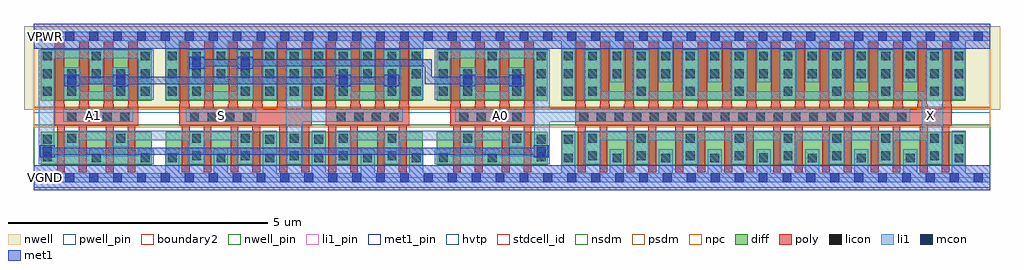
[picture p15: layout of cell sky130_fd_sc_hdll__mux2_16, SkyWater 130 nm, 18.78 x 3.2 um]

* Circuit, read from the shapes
.subckt sky130_fd_sc_hdll__mux2_16 A0 A1 S VGND VNB VPB VPWR X
XM1 n1 A1 n2 VNB sky130_fd_pr__nfet_01v8 w=0.65 l=0.15 m=4
XM2 n1 S VGND VNB sky130_fd_pr__nfet_01v8 w=0.65 l=0.15 m=4
XM3 n3 S VGND VNB sky130_fd_pr__nfet_01v8 w=0.65 l=0.15 m=2
XM4 n4 n3 VGND VNB sky130_fd_pr__nfet_01v8 w=0.65 l=0.15 m=4
XM5 n4 A0 n2 VNB sky130_fd_pr__nfet_01v8 w=0.65 l=0.15 m=4
XM6 X n2 VGND VNB sky130_fd_pr__nfet_01v8 w=0.65 l=0.15 m=16
XM7 n5 A1 n2 VPB sky130_fd_pr__pfet_01v8_hvt w=1 l=0.18 m=4
XM8 n6 S VPWR VPB sky130_fd_pr__pfet_01v8_hvt w=1 l=0.18 m=4
XM9 n3 S VPWR VPB sky130_fd_pr__pfet_01v8_hvt w=1 l=0.18 m=2
XM10 n5 n3 VPWR VPB sky130_fd_pr__pfet_01v8_hvt w=1 l=0.18 m=4
XM11 n6 A0 n2 VPB sky130_fd_pr__pfet_01v8_hvt w=1 l=0.18 m=4
XM12 X n2 VPWR VPB sky130_fd_pr__pfet_01v8_hvt w=1 l=0.18 m=16
.ends

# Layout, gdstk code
import gdstk
lib = gdstk.Library(unit=1e-6, precision=1e-09)
def R(c, l, rs):  # rectangles x0, y0, x1, y1
    for r in rs: c.add(gdstk.rectangle(r[:2], r[2:], *l))
def A(c, l, x, y, w, h, nx, ny, dx, dy):  # array of equal rectangles
    R(c, l, [(x+i*dx, y+j*dy, x+i*dx+w, y+j*dy+h) for i in range(nx) for j in range(ny)])
def P(c, l, *ps):  # polygons
    for p in ps: c.add(gdstk.Polygon(p, *l))
nwell_pin = (64, 16)
nwell = (64, 20)
diff = (65, 20)
poly = (66, 20)
licon = (66, 44)
li1_pin = (67, 16)
li1 = (67, 20)
mcon = (67, 44)
met1_pin = (68, 16)
met1 = (68, 20)
hvtp = (78, 44)
stdcell_id = (81, 4)
nsdm = (93, 44)
psdm = (94, 20)
npc = (95, 20)
pwell_pin = (122, 16)
boundary2 = (236, 0)

sky130_fd_sc_hdll__mux2_ = lib.new_cell('sky130_fd_sc_hdll__mux2_16')
R(sky130_fd_sc_hdll__mux2_, nwell_pin, [(0.15,2.635,0.32,2.805)])
R(sky130_fd_sc_hdll__mux2_, nwell, [(-0.19,1.305,18.59,2.91)])
R(sky130_fd_sc_hdll__mux2_, diff, [(0.135,0.235,2.265,0.885), (2.535,0.235,7.485,0.885), (7.755,0.235,9.885,0.885), (10.155,0.235,17.925,0.885), (0.135,1.485,2.265,2.485), (2.535,1.485,7.485,2.485), (7.755,1.485,9.885,2.485), (10.155,1.485,17.925,2.485)])
P(sky130_fd_sc_hdll__mux2_, poly, [(2.005,1.41),(1.995,1.41),(1.995,2.615),(1.815,2.615),(1.815,1.41),(1.805,1.41),(1.805,1.325),(1.535,1.325),(1.535,1.41),(1.525,1.41),(1.525,2.615),(1.345,2.615),(1.345,1.41),(1.335,1.41),(1.335,1.325),(1.065,1.325),(1.065,1.41),(1.055,1.41),(1.055,2.615),(0.875,2.615),(0.875,1.41),(0.865,1.41),(0.865,1.325),(0.595,1.325),(0.595,1.41),(0.585,1.41),(0.585,2.615),(0.405,2.615),(0.405,1.41),(0.395,1.41),(0.395,0.995),(0.445,0.995),(0.445,0.105),(0.595,0.105),(0.595,0.995),(0.865,0.995),(0.865,0.105),(1.015,0.105),(1.015,0.995),(1.385,0.995),(1.385,0.105),(1.535,0.105),(1.535,0.995),(1.805,0.995),(1.805,0.105),(1.955,0.105),(1.955,0.995),(2.005,0.995)],
  [(5.345,1.41),(5.335,1.41),(5.335,2.615),(5.155,2.615),(5.155,1.41),(5.145,1.41),(5.145,1.325),(4.875,1.325),(4.875,1.41),(4.865,1.41),(4.865,2.615),(4.685,2.615),(4.685,1.41),(4.675,1.41),(4.675,1.325),(4.405,1.325),(4.405,1.41),(4.395,1.41),(4.395,2.615),(4.215,2.615),(4.215,1.41),(4.205,1.41),(4.205,1.325),(3.935,1.325),(3.935,1.41),(3.925,1.41),(3.925,2.615),(3.745,2.615),(3.745,1.41),(3.735,1.41),(3.735,1.325),(3.465,1.325),(3.465,1.41),(3.455,1.41),(3.455,2.615),(3.275,2.615),(3.275,1.41),(3.265,1.41),(3.265,1.325),(2.995,1.325),(2.995,1.41),(2.985,1.41),(2.985,2.615),(2.805,2.615),(2.805,1.41),(2.795,1.41),(2.795,0.995),(2.845,0.995),(2.845,0.105),(2.995,0.105),(2.995,0.995),(3.265,0.995),(3.265,0.105),(3.415,0.105),(3.415,0.995),(3.785,0.995),(3.785,0.105),(3.935,0.105),(3.935,0.995),(4.205,0.995),(4.205,0.105),(4.355,0.105),(4.355,0.995),(4.725,0.995),(4.725,0.105),(4.875,0.105),(4.875,0.995),(5.145,0.995),(5.145,0.105),(5.295,0.105),(5.295,0.995),(5.345,0.995)],
  [(7.225,1.41),(7.215,1.41),(7.215,2.615),(7.035,2.615),(7.035,1.41),(7.025,1.41),(7.025,1.325),(6.755,1.325),(6.755,1.41),(6.745,1.41),(6.745,2.615),(6.565,2.615),(6.565,1.41),(6.555,1.41),(6.555,1.325),(6.285,1.325),(6.285,1.41),(6.275,1.41),(6.275,2.615),(6.095,2.615),(6.095,1.41),(6.085,1.41),(6.085,1.325),(5.815,1.325),(5.815,1.41),(5.805,1.41),(5.805,2.615),(5.625,2.615),(5.625,1.41),(5.615,1.41),(5.615,0.995),(5.665,0.995),(5.665,0.105),(5.815,0.105),(5.815,0.995),(6.085,0.995),(6.085,0.105),(6.235,0.105),(6.235,0.995),(6.605,0.995),(6.605,0.105),(6.755,0.105),(6.755,0.995),(7.025,0.995),(7.025,0.105),(7.175,0.105),(7.175,0.995),(7.225,0.995)],
  [(9.625,1.41),(9.615,1.41),(9.615,2.615),(9.435,2.615),(9.435,1.41),(9.425,1.41),(9.425,1.325),(9.155,1.325),(9.155,1.41),(9.145,1.41),(9.145,2.615),(8.965,2.615),(8.965,1.41),(8.955,1.41),(8.955,1.325),(8.685,1.325),(8.685,1.41),(8.675,1.41),(8.675,2.615),(8.495,2.615),(8.495,1.41),(8.485,1.41),(8.485,1.325),(8.215,1.325),(8.215,1.41),(8.205,1.41),(8.205,2.615),(8.025,2.615),(8.025,1.41),(8.015,1.41),(8.015,0.995),(8.065,0.995),(8.065,0.105),(8.215,0.105),(8.215,0.995),(8.485,0.995),(8.485,0.105),(8.635,0.105),(8.635,0.995),(9.005,0.995),(9.005,0.105),(9.155,0.105),(9.155,0.995),(9.425,0.995),(9.425,0.105),(9.575,0.105),(9.575,0.995),(9.625,0.995)],
  [(17.665,1.41),(17.655,1.41),(17.655,2.615),(17.475,2.615),(17.475,1.41),(17.465,1.41),(17.465,1.325),(17.195,1.325),(17.195,1.41),(17.185,1.41),(17.185,2.615),(17.005,2.615),(17.005,1.41),(16.995,1.41),(16.995,1.325),(16.725,1.325),(16.725,1.41),(16.715,1.41),(16.715,2.615),(16.535,2.615),(16.535,1.41),(16.525,1.41),(16.525,1.325),(16.255,1.325),(16.255,1.41),(16.245,1.41),(16.245,2.615),(16.065,2.615),(16.065,1.41),(16.055,1.41),(16.055,1.325),(15.785,1.325),(15.785,1.41),(15.775,1.41),(15.775,2.615),(15.595,2.615),(15.595,1.41),(15.585,1.41),(15.585,1.325),(15.315,1.325),(15.315,1.41),(15.305,1.41),(15.305,2.615),(15.125,2.615),(15.125,1.41),(15.115,1.41),(15.115,1.325),(14.845,1.325),(14.845,1.41),(14.835,1.41),(14.835,2.615),(14.655,2.615),(14.655,1.41),(14.645,1.41),(14.645,1.325),(14.375,1.325),(14.375,1.41),(14.365,1.41),(14.365,2.615),(14.185,2.615),(14.185,1.41),(14.175,1.41),(14.175,1.325),(13.905,1.325),(13.905,1.41),(13.895,1.41),(13.895,2.615),(13.715,2.615),(13.715,1.41),(13.705,1.41),(13.705,1.325),(13.435,1.325),(13.435,1.41),(13.425,1.41),(13.425,2.615),(13.245,2.615),(13.245,1.41),(13.235,1.41),(13.235,1.325),(12.965,1.325),(12.965,1.41),(12.955,1.41),(12.955,2.615),(12.775,2.615),(12.775,1.41),(12.765,1.41),(12.765,1.325),(12.495,1.325),(12.495,1.41),(12.485,1.41),(12.485,2.615),(12.305,2.615),(12.305,1.41),(12.295,1.41),(12.295,1.325),(12.025,1.325),(12.025,1.41),(12.015,1.41),(12.015,2.615),(11.835,2.615),(11.835,1.41),(11.825,1.41),(11.825,1.325),(11.555,1.325),(11.555,1.41),(11.545,1.41),(11.545,2.615),(11.365,2.615),(11.365,1.41),(11.355,1.41),(11.355,1.325),(11.085,1.325),(11.085,1.41),(11.075,1.41),(11.075,2.615),(10.895,2.615),(10.895,1.41),(10.885,1.41),(10.885,1.325),(10.615,1.325),(10.615,1.41),(10.605,1.41),(10.605,2.615),(10.425,2.615),(10.425,1.41),(10.415,1.41),(10.415,0.995),(10.465,0.995),(10.465,0.105),(10.615,0.105),(10.615,0.995),(10.885,0.995),(10.885,0.105),(11.035,0.105),(11.035,0.995),(11.405,0.995),(11.405,0.105),(11.555,0.105),(11.555,0.995),(11.825,0.995),(11.825,0.105),(11.975,0.105),(11.975,0.995),(12.345,0.995),(12.345,0.105),(12.495,0.105),(12.495,0.995),(12.765,0.995),(12.765,0.105),(12.915,0.105),(12.915,0.995),(13.285,0.995),(13.285,0.105),(13.435,0.105),(13.435,0.995),(13.705,0.995),(13.705,0.105),(13.855,0.105),(13.855,0.995),(14.225,0.995),(14.225,0.105),(14.375,0.105),(14.375,0.995),(14.645,0.995),(14.645,0.105),(14.795,0.105),(14.795,0.995),(15.165,0.995),(15.165,0.105),(15.315,0.105),(15.315,0.995),(15.585,0.995),(15.585,0.105),(15.735,0.105),(15.735,0.995),(16.105,0.995),(16.105,0.105),(16.255,0.105),(16.255,0.995),(16.525,0.995),(16.525,0.105),(16.675,0.105),(16.675,0.995),(17.045,0.995),(17.045,0.105),(17.195,0.105),(17.195,0.995),(17.465,0.995),(17.465,0.105),(17.615,0.105),(17.615,0.995),(17.665,0.995)])
A(sky130_fd_sc_hdll__mux2_, licon, 3.515, 0.295, 0.17, 0.17, 4, 1, 0.94, 0)
A(sky130_fd_sc_hdll__mux2_, licon, 10.195, 0.295, 0.17, 0.17, 4, 1, 0.94, 0)
A(sky130_fd_sc_hdll__mux2_, licon, 14.895, 0.295, 0.17, 0.17, 4, 1, 0.94, 0)
A(sky130_fd_sc_hdll__mux2_, licon, 3.045, 0.335, 0.17, 0.17, 5, 2, 0.94, 0.34)
A(sky130_fd_sc_hdll__mux2_, licon, 10.665, 0.335, 0.17, 0.17, 8, 2, 0.94, 0.34)
A(sky130_fd_sc_hdll__mux2_, licon, 0.645, 1.075, 0.17, 0.17, 4, 1, 0.34, 0)
A(sky130_fd_sc_hdll__mux2_, licon, 3.005, 1.075, 0.17, 0.17, 4, 1, 0.34, 0)
A(sky130_fd_sc_hdll__mux2_, licon, 5.825, 1.075, 0.17, 0.17, 4, 1, 0.34, 0)
A(sky130_fd_sc_hdll__mux2_, licon, 8.185, 1.075, 0.17, 0.17, 4, 1, 0.34, 0)
A(sky130_fd_sc_hdll__mux2_, licon, 10.495, 1.075, 0.17, 0.17, 19, 1, 0.34, 0)
A(sky130_fd_sc_hdll__mux2_, licon, 3.985, 1.575, 0.17, 0.17, 5, 1, 0.47, 0)
A(sky130_fd_sc_hdll__mux2_, licon, 10.665, 1.575, 0.17, 0.17, 8, 1, 0.94, 0)
A(sky130_fd_sc_hdll__mux2_, licon, 0.175, 1.915, 0.17, 0.17, 5, 1, 0.47, 0)
A(sky130_fd_sc_hdll__mux2_, licon, 2.575, 1.915, 0.17, 0.17, 11, 2, 0.47, 0.34)
A(sky130_fd_sc_hdll__mux2_, licon, 7.795, 1.915, 0.17, 0.17, 5, 1, 0.47, 0)
A(sky130_fd_sc_hdll__mux2_, licon, 10.195, 1.915, 0.17, 0.17, 17, 2, 0.47, 0.34)
A(sky130_fd_sc_hdll__mux2_, licon, 0.175, 2.255, 0.17, 0.17, 3, 1, 0.94, 0)
A(sky130_fd_sc_hdll__mux2_, licon, 7.795, 2.255, 0.17, 0.17, 3, 1, 0.94, 0)
R(sky130_fd_sc_hdll__mux2_, licon, [(1.115,0.295,1.285,0.465), (8.735,0.295,8.905,0.465), (2.055,0.3,2.225,0.47), (2.575,0.3,2.745,0.47), (7.275,0.3,7.445,0.47), (7.795,0.3,7.965,0.47), (13.955,0.3,14.125,0.47), (0.175,0.315,0.345,0.485), (9.675,0.315,9.845,0.485), (0.175,0.655,0.345,0.825), (4.455,0.655,4.625,0.825), (5.395,0.655,5.565,0.825), (9.675,0.655,9.845,0.825), (10.195,0.655,10.365,0.825), (17.715,0.655,17.885,0.825), (0.645,0.675,0.815,0.845), (1.585,0.675,1.755,0.845), (8.265,0.675,8.435,0.845), (9.205,0.675,9.375,0.845), (0.175,1.575,0.345,1.745), (0.645,1.575,0.815,1.745), (1.585,1.575,1.755,1.745), (2.055,1.575,2.225,1.745), (2.575,1.575,2.745,1.745), (3.045,1.575,3.215,1.745), (6.805,1.575,6.975,1.745), (7.275,1.575,7.445,1.745), (7.795,1.575,7.965,1.745), (8.265,1.575,8.435,1.745), (9.205,1.575,9.375,1.745), (9.675,1.575,9.845,1.745), (10.195,1.575,10.365,1.745), (17.715,1.575,17.885,1.745)])
R(sky130_fd_sc_hdll__mux2_, li1_pin, [(1.065,1.105,1.235,1.275), (3.515,1.105,3.685,1.275), (8.885,1.105,9.055,1.275), (17.165,1.105,17.335,1.275)])
R(sky130_fd_sc_hdll__mux2_, li1, [(0.565,1.075,1.915,1.325), (2.925,1.075,4.275,1.325), (8.105,1.075,9.455,1.325)])
P(sky130_fd_sc_hdll__mux2_, li1, [(1.835,2.125),(1.505,2.125),(1.505,1.665),(0.895,1.665),(0.895,2.125),(0.565,2.125),(0.565,1.495),(1.835,1.495)],
  [(2.305,0.55),(2.005,0.55),(2.005,0.425),(1.335,0.425),(1.335,0.545),(1.065,0.545),(1.065,0.425),(0.395,0.425),(0.395,2.295),(1.065,2.295),(1.065,1.835),(1.335,1.835),(1.335,2.295),(2.005,2.295),(2.005,1.495),(2.305,1.495),(2.305,2.465),(0.095,2.465),(0.095,0.255),(2.305,0.255)],
  [(4.235,2.465),(3.905,2.465),(3.905,1.665),(3.295,1.665),(3.295,2.465),(2.965,2.465),(2.965,1.495),(4.235,1.495)],
  [(4.235,0.905),(0.565,0.905),(0.565,0.595),(0.895,0.595),(0.895,0.725),(1.505,0.725),(1.505,0.595),(1.835,0.595),(1.835,0.725),(2.965,0.725),(2.965,0.255),(3.295,0.255),(3.295,0.725),(3.905,0.725),(3.905,0.255),(4.235,0.255)],
  [(7.055,2.465),(6.725,2.465),(6.725,1.665),(6.115,1.665),(6.115,2.465),(5.785,2.465),(5.785,1.495),(7.055,1.495)],
  [(7.095,1.325),(5.175,1.325),(5.175,2.465),(4.845,2.465),(4.845,0.255),(5.175,0.255),(5.175,1.075),(7.095,1.075)],
  [(9.455,2.125),(9.125,2.125),(9.125,1.665),(8.515,1.665),(8.515,2.125),(8.185,2.125),(8.185,1.495),(9.455,1.495)],
  [(9.455,0.905),(5.785,0.905),(5.785,0.255),(6.115,0.255),(6.115,0.725),(6.725,0.725),(6.725,0.255),(7.055,0.255),(7.055,0.725),(8.185,0.725),(8.185,0.595),(8.515,0.595),(8.515,0.725),(9.125,0.725),(9.125,0.595),(9.455,0.595)],
  [(16.865,1.325),(9.925,1.325),(9.925,2.465),(7.715,2.465),(7.715,1.495),(8.015,1.495),(8.015,2.295),(8.685,2.295),(8.685,1.835),(8.955,1.835),(8.955,2.295),(9.625,2.295),(9.625,0.425),(8.955,0.425),(8.955,0.545),(8.685,0.545),(8.685,0.425),(8.015,0.425),(8.015,0.55),(7.715,0.55),(7.715,0.255),(9.925,0.255),(9.925,1.075),(16.865,1.075)],
  [(18.4,0.085),(17.935,0.085),(17.935,0.905),(17.665,0.905),(17.665,0.085),(16.995,0.085),(16.995,0.545),(16.725,0.545),(16.725,0.085),(16.055,0.085),(16.055,0.545),(15.785,0.545),(15.785,0.085),(15.115,0.085),(15.115,0.545),(14.845,0.545),(14.845,0.085),(14.175,0.085),(14.175,0.55),(13.905,0.55),(13.905,0.085),(13.235,0.085),(13.235,0.545),(12.965,0.545),(12.965,0.085),(12.295,0.085),(12.295,0.545),(12.025,0.545),(12.025,0.085),(11.355,0.085),(11.355,0.545),(11.085,0.545),(11.085,0.085),(10.415,0.085),(10.415,0.905),(10.145,0.905),(10.145,0.085),(7.495,0.085),(7.495,0.55),(7.225,0.55),(7.225,0.085),(6.555,0.085),(6.555,0.545),(6.285,0.545),(6.285,0.085),(5.615,0.085),(5.615,0.905),(5.345,0.905),(5.345,0.085),(4.675,0.085),(4.675,0.905),(4.405,0.905),(4.405,0.085),(3.735,0.085),(3.735,0.545),(3.465,0.545),(3.465,0.085),(2.795,0.085),(2.795,0.55),(2.525,0.55),(2.525,0.085),(0,0.085),(0,-0.085),(18.4,-0.085)],
  [(18.4,2.805),(0,2.805),(0,2.635),(2.525,2.635),(2.525,1.495),(2.795,1.495),(2.795,2.635),(3.465,2.635),(3.465,1.835),(3.735,1.835),(3.735,2.635),(4.405,2.635),(4.405,1.495),(4.675,1.495),(4.675,2.635),(5.345,2.635),(5.345,1.495),(5.615,1.495),(5.615,2.635),(6.285,2.635),(6.285,1.835),(6.555,1.835),(6.555,2.635),(7.225,2.635),(7.225,1.495),(7.495,1.495),(7.495,2.635),(10.145,2.635),(10.145,1.495),(10.415,1.495),(10.415,2.635),(11.085,2.635),(11.085,1.835),(11.355,1.835),(11.355,2.635),(12.025,2.635),(12.025,1.835),(12.295,1.835),(12.295,2.635),(12.965,2.635),(12.965,1.835),(13.235,1.835),(13.235,2.635),(13.905,2.635),(13.905,1.835),(14.175,1.835),(14.175,2.635),(14.845,2.635),(14.845,1.835),(15.115,1.835),(15.115,2.635),(15.785,2.635),(15.785,1.835),(16.055,1.835),(16.055,2.635),(16.725,2.635),(16.725,1.835),(16.995,1.835),(16.995,2.635),(17.665,2.635),(17.665,1.495),(17.935,1.495),(17.935,2.635),(18.4,2.635)],
  [(17.495,2.465),(17.165,2.465),(17.165,1.665),(16.555,1.665),(16.555,2.465),(16.225,2.465),(16.225,1.665),(15.615,1.665),(15.615,2.465),(15.285,2.465),(15.285,1.665),(14.675,1.665),(14.675,2.465),(14.345,2.465),(14.345,1.665),(13.735,1.665),(13.735,2.465),(13.405,2.465),(13.405,1.665),(12.795,1.665),(12.795,2.465),(12.465,2.465),(12.465,1.665),(11.855,1.665),(11.855,2.465),(11.525,2.465),(11.525,1.665),(10.915,1.665),(10.915,2.465),(10.585,2.465),(10.585,1.495),(17.085,1.495),(17.085,0.905),(10.585,0.905),(10.585,0.255),(10.915,0.255),(10.915,0.725),(11.525,0.725),(11.525,0.255),(11.855,0.255),(11.855,0.725),(12.465,0.725),(12.465,0.255),(12.795,0.255),(12.795,0.725),(13.405,0.725),(13.405,0.255),(13.735,0.255),(13.735,0.725),(14.345,0.725),(14.345,0.255),(14.675,0.255),(14.675,0.725),(15.285,0.725),(15.285,0.255),(15.615,0.255),(15.615,0.725),(16.225,0.725),(16.225,0.255),(16.555,0.255),(16.555,0.725),(17.165,0.725),(17.165,0.255),(17.495,0.255)])
A(sky130_fd_sc_hdll__mux2_, mcon, 0.145, -0.085, 0.17, 0.17, 40, 2, 0.46, 2.72)
R(sky130_fd_sc_hdll__mux2_, mcon, [(0.175,0.425,0.345,0.595), (9.675,0.425,9.845,0.595), (0.645,1.785,0.815,1.955), (1.585,1.785,1.755,1.955), (5.865,1.785,6.035,1.955), (6.805,1.785,6.975,1.955), (8.265,1.785,8.435,1.955), (9.205,1.785,9.375,1.955), (3.045,2.125,3.215,2.295), (3.985,2.125,4.155,2.295)])
R(sky130_fd_sc_hdll__mux2_, met1_pin, [(0.15,-0.085,0.32,0.085), (0.15,2.635,0.32,2.805)])
R(sky130_fd_sc_hdll__mux2_, met1, [(0,-0.24,18.4,0.24), (0,2.48,18.4,2.96)])
P(sky130_fd_sc_hdll__mux2_, met1, [(9.435,1.985),(9.145,1.985),(9.145,1.94),(8.495,1.94),(8.495,1.985),(8.205,1.985),(8.205,1.94),(7.66,1.94),(7.66,2.28),(4.215,2.28),(4.215,2.325),(3.925,2.325),(3.925,2.28),(3.275,2.28),(3.275,2.325),(2.985,2.325),(2.985,2.095),(3.275,2.095),(3.275,2.14),(3.925,2.14),(3.925,2.095),(4.215,2.095),(4.215,2.14),(7.52,2.14),(7.52,1.8),(8.205,1.8),(8.205,1.755),(8.495,1.755),(8.495,1.8),(9.145,1.8),(9.145,1.755),(9.435,1.755)],
  [(7.035,1.985),(6.745,1.985),(6.745,1.94),(6.095,1.94),(6.095,1.985),(5.805,1.985),(5.805,1.94),(1.815,1.94),(1.815,1.985),(1.525,1.985),(1.525,1.94),(0.875,1.94),(0.875,1.985),(0.585,1.985),(0.585,1.755),(0.875,1.755),(0.875,1.8),(1.525,1.8),(1.525,1.755),(1.815,1.755),(1.815,1.8),(5.805,1.8),(5.805,1.755),(6.095,1.755),(6.095,1.8),(6.745,1.8),(6.745,1.755),(7.035,1.755)],
  [(9.905,0.625),(9.615,0.625),(9.615,0.58),(0.405,0.58),(0.405,0.625),(0.115,0.625),(0.115,0.395),(0.405,0.395),(0.405,0.44),(9.615,0.44),(9.615,0.395),(9.905,0.395)])
R(sky130_fd_sc_hdll__mux2_, hvtp, [(0,1.25,18.4,2.72)])
R(sky130_fd_sc_hdll__mux2_, stdcell_id, [(0,0,18.4,2.72)])
R(sky130_fd_sc_hdll__mux2_, nsdm, [(0,-0.19,18.4,1.015)])
R(sky130_fd_sc_hdll__mux2_, psdm, [(0,1.355,18.4,2.91)])
R(sky130_fd_sc_hdll__mux2_, npc, [(0,0.975,18.4,1.345)])
R(sky130_fd_sc_hdll__mux2_, pwell_pin, [(0.15,-0.085,0.32,0.085)])
R(sky130_fd_sc_hdll__mux2_, boundary2, [(0,0,18.4,2.72)])
sky130_fd_sc_hdll__mux2_.add(gdstk.Label('VPWR', (0.23,2.72), layer=68, texttype=5))
sky130_fd_sc_hdll__mux2_.add(gdstk.Label('VGND', (0.23,0), layer=68, texttype=5))
sky130_fd_sc_hdll__mux2_.add(gdstk.Label('VPB', (0.23,2.72), layer=64, texttype=5))
sky130_fd_sc_hdll__mux2_.add(gdstk.Label('VNB', (0.23,0), layer=64, texttype=59))
sky130_fd_sc_hdll__mux2_.add(gdstk.Label('X', (17.255,1.19), layer=67, texttype=5))
sky130_fd_sc_hdll__mux2_.add(gdstk.Label('S', (3.61,1.19), layer=67, texttype=5))
sky130_fd_sc_hdll__mux2_.add(gdstk.Label('A1', (1.15,1.19), layer=67, texttype=5))
sky130_fd_sc_hdll__mux2_.add(gdstk.Label('A0', (8.97,1.19), layer=67, texttype=5))
sky130_fd_sc_hdll__mux2_.add(gdstk.Label('mux2_16', (0,0), layer=83, texttype=44))

lib.write_gds('sky130_fd_sc_hdll__mux2_16.gds')
